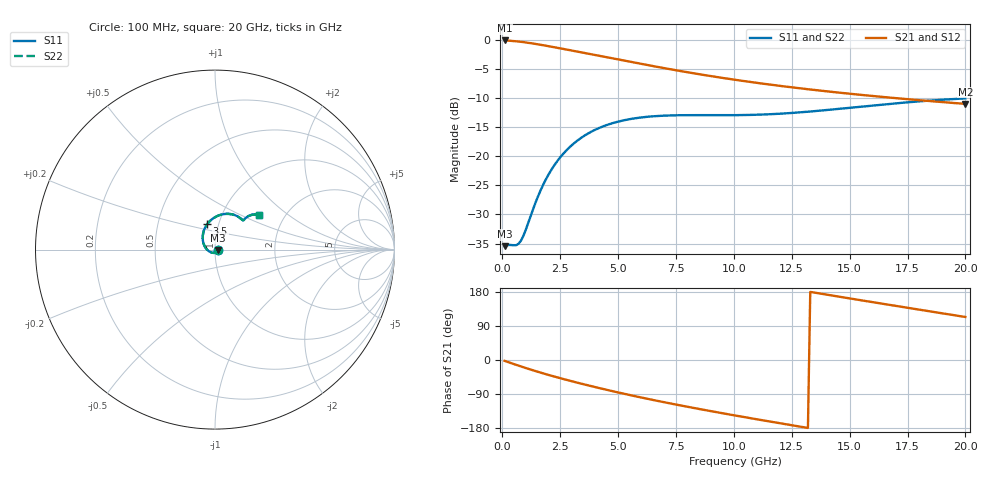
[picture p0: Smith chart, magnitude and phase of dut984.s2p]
! Touchstone file exported from HFSS 2024.1.0
!  File:  C:/UserFiles/LocalFiles/RDL_TSV_Batchsim/temp_RDL_TSV_984_1779974303.aedt
!  Generated:  09:31:41 PM May 28, 2026
!  Design:  RDL_TSV
!  Project:  temp_RDL_TSV_984_1779974303
!  Setup:  Setup1
!  Solution:  Sweep
! Variables:
!  dtsv = 10.88um
!  hbump = 3um
!  htsv = 90.62um
!  ldown = 333.75um
!  lrdl = 617.79um
!  p = 40
!  p1 = 48.88um
!  rhole = 10um
!  subl = 3472.41um
!  t = 450um
!  tdown = 3.54um
!  trdl = 2.69um
!  viad = 10um
!  wdown = 26.68um
!  wrdl = 26.47um
!  xbump = 18um
# GHz S MA R 50.000000
! Terminal data exported
! Port[1] = TM1_1_T1
! Port[2] = TM1_4_T1
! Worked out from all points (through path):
!   200 points, 100 MHz to 20 GHz, reference 50 ohm
!   highest |S21| = -0.15 dB at 100 MHz (marker M1); lowest = -11.0 dB at 20 GHz (marker M2)
!   group delay of S21, straight-line fit = 32.4 ps
!   lowest |S11| = -35.5 dB at 100 MHz (marker M3), VSWR 1.03, Z = 51.7 - j0.237 ohm
!   |S11| at or under -10 dB: start of sweep to end of sweep
!   |S22| runs from -35.5 to -10.1 dB; largest |S21 - S12| = 9.6e-15
!   S11 on the Smith chart (normalised r, x): 100 MHz: 1.03, -0.00; 3.5 GHz: 0.88, +0.25; 20 GHz: 1.49, +0.64
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0.1  0.01687 -7.8  0.9825 -2.2  0.9825 -2.2  0.01687 -7.8
! Gamma 0 0 0 0
! Port Impedance 50 0 50 0
0.6  0.01722 -69.4  0.9663 -12.8  0.9663 -12.8  0.01723 -69.4
0.8  0.01873 -101.2  0.9567 -16.9  0.9567 -16.9  0.01873 -101.2
1  0.0229 -130.4  0.9456 -20.9  0.9456 -20.9  0.02289 -130.3
1.4  0.03821 -171.0  0.9199 -28.6  0.9199 -28.6  0.03816 -170.9
1.7  0.05324 169.2  0.8988 -34.1  0.8988 -34.1  0.05315 169.3
2.1  0.0752 149.8  0.8698 -41.2  0.8698 -41.2  0.07507 149.9
2.5  0.0975 134.8  0.8409 -48.0  0.8409 -48.0  0.09733 134.8
3  0.124 119.7  0.8054 -56.1  0.8054 -56.1  0.1238 119.7
3.5  0.1477 107.3  0.771 -63.8  0.771 -63.8  0.1474 107.3
4.3  0.1783 91.3  0.7186 -75.7  0.7186 -75.7  0.178 91.3
5.2  0.2019 77.4  0.6636 -88.4  0.6636 -88.4  0.2015 77.4
6  0.2146 67.8  0.6187 -99.0  0.6187 -99.0  0.2142 67.9
6.8  0.2214 60.5  0.5778 -109.1  0.5778 -109.1  0.221 60.5
8.4  0.2247 51.0  0.5082 -128.1  0.5082 -128.1  0.2243 51.0
10.1  0.2246 46.8  0.4502 -146.9  0.4502 -146.9  0.2242 46.8
11.7  0.2294 45.9  0.4073 -163.9  0.4073 -163.9  0.229 45.9
13.4  0.2423 45.9  0.3709 178.6  0.3709 178.6  0.2418 45.9
15.1  0.261 45.2  0.3414 161.5  0.3414 161.5  0.2604 45.2
16.7  0.2803 43.6  0.3181 145.7  0.3181 145.7  0.2796 43.6
18.3  0.2979 41.2  0.2984 130.0  0.2984 130.0  0.297 41.2
20  0.3126 38.3  0.2807 113.5  0.2807 113.5  0.3115 38.2
